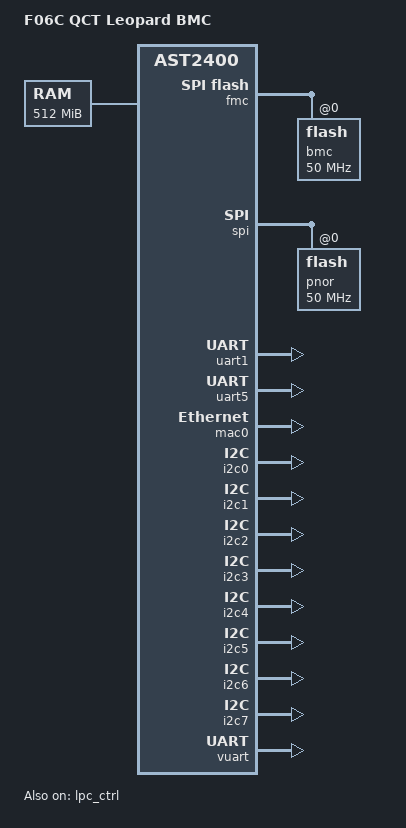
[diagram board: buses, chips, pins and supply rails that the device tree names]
// TODO(bluecmd): This is based from rendered DTB from Palmetto
// A lot of things are probably wrong for Leopard

// SPDX-License-Identifier: GPL-2.0+
/dts-v1/;

#include "aspeed-g4.dtsi"
#include <dt-bindings/gpio/aspeed-gpio.h>

/ {
	model = "F06C QCT Leopard BMC";
	compatible = "ocp,leopard-bmc", "aspeed,ast2400";

	chosen {
		stdout-path = &uart5;
		bootargs = "console=ttyS4,57600n8 earlyprintk";
	};

	memory@40000000 {
		reg = <0x40000000 0x20000000>;
	};

	reserved-memory {
		#address-cells = <1>;
		#size-cells = <1>;
		ranges;

		flash_memory: region@98000000 {
			no-map;
			reg = <0x98000000 0x01000000>; /* 16MB */
		};
	};

	//leds {
	//	compatible = "gpio-leds";

	//	heartbeat {
	//		gpios = <&gpio ASPEED_GPIO(R, 4) GPIO_ACTIVE_LOW>;
	//	};

	//	power {
	//		gpios = <&gpio ASPEED_GPIO(R, 5) GPIO_ACTIVE_LOW>;
	//	};

	//	identify {
	//		gpios = <&gpio ASPEED_GPIO(A, 2) GPIO_ACTIVE_LOW>;
	//	};
	//};

	//gpio-keys {
	//	compatible = "gpio-keys";

	//	checkstop {
	//		label = "checkstop";
	//		gpios = <&gpio ASPEED_GPIO(P, 5) GPIO_ACTIVE_LOW>;
	//		linux,code = <ASPEED_GPIO(P, 5)>;
	//	};
	//};
};

&fmc {
	status = "okay";
	flash@0 {
		status = "okay";
		m25p,fast-read;
		label = "bmc";
		spi-max-frequency = <50000000>;
#include "ubmc-flash-layout.dtsi"
	};
};

&spi {
	status = "okay";
	pinctrl-names = "default";
	pinctrl-0 = <&pinctrl_spi1debug_default>;

	flash@0 {
		status = "okay";
		m25p,fast-read;
		spi-max-frequency = <50000000>;
		label = "pnor";
	};
};

&pinctrl {
	pinctrl-names = "default";
	pinctrl-0 = <&pinctrl_flbusy_default &pinctrl_flwp_default

			&pinctrl_vgahs_default &pinctrl_vgavs_default
			&pinctrl_ddcclk_default &pinctrl_ddcdat_default>;
};

&uart1 {
	/* Rear RS-232 connector */
	status = "okay";

	pinctrl-names = "default";
	pinctrl-0 = <&pinctrl_txd1_default
			&pinctrl_rxd1_default
			&pinctrl_nrts1_default
			&pinctrl_ndtr1_default
			&pinctrl_ndsr1_default
			&pinctrl_ncts1_default
			&pinctrl_ndcd1_default
			&pinctrl_nri1_default>;
};

&uart5 {
	status = "okay";
};

&mac0 {
	status = "okay";

	use-ncsi;

	pinctrl-names = "default";
	pinctrl-0 = <&pinctrl_rmii1_default>;
};

&i2c0 {
	status = "okay";
};

&i2c1 {
	status = "okay";
};

&i2c2 {
	status = "okay";
};

&i2c3 {
	status = "okay";
};

&i2c4 {
	status = "okay";
};

&i2c5 {
	status = "okay";
};

&i2c6 {
	status = "okay";
};

&i2c7 {
	status = "okay";
};

&vuart {
	status = "okay";
};

&lpc_ctrl {
	status = "okay";
	// TODO(bluecmd): Not really sure how this works. I guess it's different
	// from iLPC2AHB?
	memory-region = <&flash_memory>;
	flash = <&spi>;
};

&lpc_host {
	lpc2ahb_regs: regs {
		compatible = "aspeed,bmc-misc";
		ilpc2ahb {
			offset = <0x100>;
			bit-mask = <0x1>;
			bit-shift = <0x6>;
		};
	};
};

&mbox {
	status = "okay";
};
